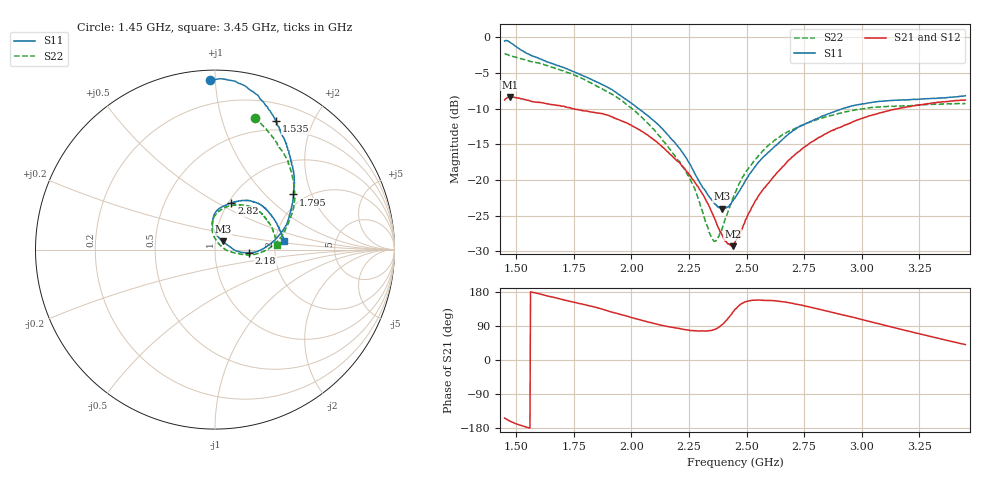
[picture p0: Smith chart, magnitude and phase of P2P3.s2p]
!Agilent Technologies,E8363B,MY43030801,A.06.04.21
!Agilent E8363B: A.06.04.21
!Date: Friday, October 24, 2025 08:33:55
!Correction: S11(Full 2 Port(1,2)) S21(Full 2 Port(1,2)) S12(Full 2 Port(1,2)) S22(Full 2 Port(1,2))
!S2P File: Measurements: S11, S21, S12, S22:
# Hz S  MA  R 50
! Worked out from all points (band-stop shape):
!   801 points, 1.45 GHz to 3.45 GHz, reference 50 ohm
!   highest |S21| = -8.34 dB at 1.472 GHz (marker M1); lowest = -29.3 dB at 2.44 GHz (marker M2)
!   |S21| within 3 dB of the highest: start of sweep to 1.93 GHz; 3.001 GHz to end of sweep
!   lowest |S11| = -24.0 dB at 2.393 GHz (marker M3), VSWR 1.13, Z = 54.3 + j4.95 ohm
!   |S11| at or under -10 dB: 2.033 GHz to 2.917 GHz (884 MHz wide, 35.7 % of centre)
!   |S22| runs from -28.6 to -2.3 dB; largest |S21 - S12| = 0.0045
!   S11 on the Smith chart (normalised r, x): 1.45 GHz: 0.06, +0.97; 1.535 GHz: 0.39, +1.51; 1.795 GHz: 1.74, +1.50; 2.18 GHz: 1.46, -0.05; 2.82 GHz: 1.03, +0.58; 3.45 GHz: 2.24, +0.26
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1.45e9  0.9437 91.6  0.3642 -153.2  0.3645 -153.6  0.7686 73.1
1.4725e9  0.9282 79.7  0.3827 -161.1  0.3821 -161.2  0.7477 69.9
1.4975e9  0.8662 72.0  0.378 -167.9  0.3791 -167.9  0.7272 66.7
1.535e9  0.7928 64.6  0.3669 -175.5  0.3683 -175.6  0.6987 62.0
1.635e9  0.6733 52.2  0.3423 169.1  0.3439 169.0  0.6337 49.9
1.785e9  0.5427 36.3  0.3081 147.7  0.3078 147.5  0.5169 31.1
1.795e9  0.5346 35.1  0.3054 146.4  0.3062 146.4  0.5078 29.8
1.97e9  0.3741 13.5  0.2558 117.7  0.256 117.4  0.3489 7.2
2.1175e9  0.2439 -1.5  0.181 93.7  0.1808 93.0  0.2077 -8.1
2.18e9  0.1892 -5.0  0.1457 86.1  0.1467 85.7  0.1542 -10.2
2.265e9  0.12 -3.9  0.1012 77.4  0.1015 77.7  0.09339 -8.1
2.3525e9  0.07169 24.1  0.05806 79.2  0.05853 79.1  0.03865 32.3
2.3925e9  0.06301 46.1  0.04134 92.6  0.04176 92.0  0.04463 74.0
2.44e9  0.07132 73.5  0.03441 125.9  0.03492 124.6  0.07364 94.7
2.45e9  0.07473 77.4  0.0364 133.6  0.03656 132.8  0.08127 96.8
2.5075e9  0.1057 92.8  0.05752 155.3  0.05766 155.4  0.1202 97.9
2.595e9  0.1569 94.5  0.09491 157.3  0.09537 157.0  0.1751 93.0
2.785e9  0.2603 74.9  0.1858 138.2  0.1862 138.0  0.2578 71.0
2.82e9  0.2769 70.7  0.2004 133.3  0.201 133.0  0.2691 67.0
3.1175e9  0.3602 41.3  0.3069 89.1  0.3075 89.0  0.3293 37.6
3.29e9  0.3723 24.3  0.3435 63.4  0.3434 63.2  0.3382 22.5
3.45e9  0.3902 7.2  0.3644 40.7  0.3645 40.2  0.3447 4.2
